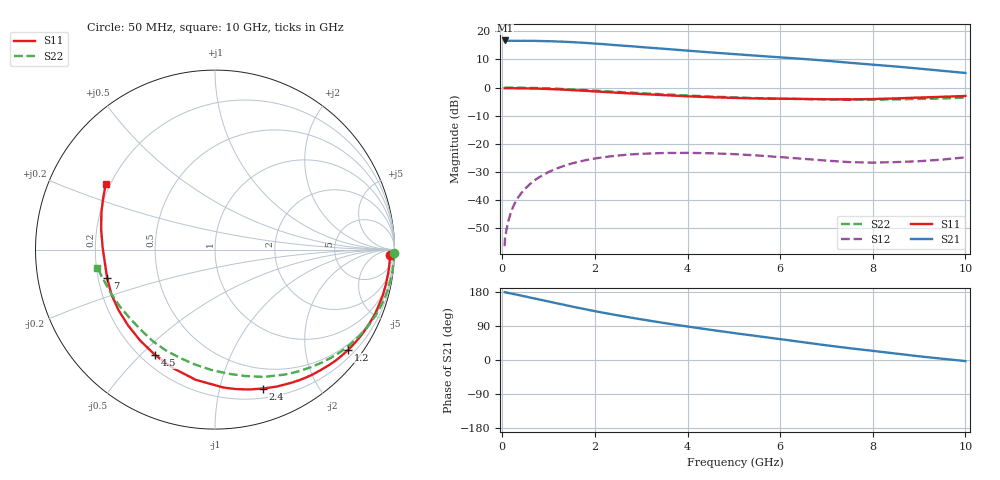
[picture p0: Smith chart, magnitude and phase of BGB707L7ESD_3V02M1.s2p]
! (c) 2009  Infineon Technologies AG, Munich
!  Infineon Technologies AG
!  BGB707L7ESD RU919007 w#7 Sample Build #08493 Teil Nr. 3
!  Vce = 3.0V, Ic = 2.1mA
!  DATUM: 30.06.2009 10:17:40
# GHz  S  MA  R  50
!f  S11  S21  S12  S22
!GHz  Mag  Ang  Mag  Ang  Mag  Ang  Mag  Ang
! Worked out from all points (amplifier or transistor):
!   52 points, 50 MHz to 10 GHz, reference 50 ohm
!   highest |S21| = 16.7 dB at 60 MHz (marker M1)
!   |S21| within 3 dB of that: start of sweep to 3.524 GHz
!   unconditionally stable (mu >= 1): 7.056 GHz to end of sweep
!   at 130 MHz: K = 0.00, MSG = 32.1 dB, |S12| = -47.4 dB
!   at 1.4 GHz: K = 0.06, MSG = 21.8 dB, |S12| = -27.4 dB
!   at 10 GHz: K = 1.11, MAG = 13.0 dB, |S12| = -24.8 dB
!   lowest NFmin = 0.40 dB at 100 MHz
!   S11 on the Smith chart (normalised r, x): 50 MHz: 35, -37; 1.2 GHz: 0.36, -2.96; 2.4 GHz: 0.29, -1.36; 4.5 GHz: 0.26, -0.55; 7 GHz: 0.24, -0.12; 10 GHz: 0.18, +0.27
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0.05  0.9737 -1.6  6.751 179.0  0.001528 96.0  0.9992 -1.0
0.06  0.974 -2.1  6.87 178.7  0.002257 84.2  0.9991 -1.2
0.08  0.974 -2.4  6.748 178.0  0.002639 87.9  0.9989 -1.7
0.09  0.9765 -2.9  6.807 178.3  0.002998 89.1  0.999 -2.0
0.1  0.9742 -3.3  6.772 177.5  0.003226 87.0  0.9987 -2.2
0.2  0.9745 -6.3  6.792 175.4  0.006564 84.9  0.9976 -4.5
0.4  0.971 -12.3  6.756 170.2  0.01304 81.7  0.9936 -8.9
0.7  0.9612 -21.7  6.759 162.2  0.02262 75.1  0.9834 -15.6
1.2  0.9291 -36.9  6.577 149.0  0.03724 64.2  0.9535 -26.5
1.5  0.903 -45.8  6.414 141.2  0.04485 58.0  0.9287 -32.9
1.8  0.8749 -54.6  6.211 133.8  0.05139 51.9  0.9024 -39.1
2.2  0.8371 -65.8  5.897 124.3  0.05828 44.5  0.8649 -46.8
2.4  0.8185 -71.1  5.714 119.8  0.06096 41.0  0.8468 -50.5
2.8  0.7855 -81.5  5.413 111.4  0.0652 34.8  0.8128 -57.6
3.5  0.7337 -98.3  4.881 97.5  0.06905 25.2  0.7592 -69.1
4  0.7011 -109.3  4.532 88.4  0.06931 19.4  0.7241 -76.6
4.5  0.6756 -119.6  4.212 79.6  0.06822 14.7  0.6948 -84.2
5.5  0.6424 -139.0  3.679 63.1  0.06238 8.1  0.6499 -99.8
6.5  0.6287 -156.6  3.228 46.9  0.05436 7.0  0.6251 -115.8
7  0.6216 -165.0  2.998 38.7  0.05048 8.9  0.6167 -124.2
8.5  0.6433 170.3  2.369 17.0  0.04752 24.3  0.6169 -148.6
10  0.7097 149.1  1.819 -2.9  0.05775 36.8  0.6641 -171.3
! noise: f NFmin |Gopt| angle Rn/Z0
0.1  0.4  0.68  2  0.23
0.45  0.51  0.68  4  0.23
0.9  0.57  0.7  13  0.22
1.8  0.65  0.54  36  0.22
5  1.07  0.43  79  0.2
10  2.02  0.48  -143  0.13
